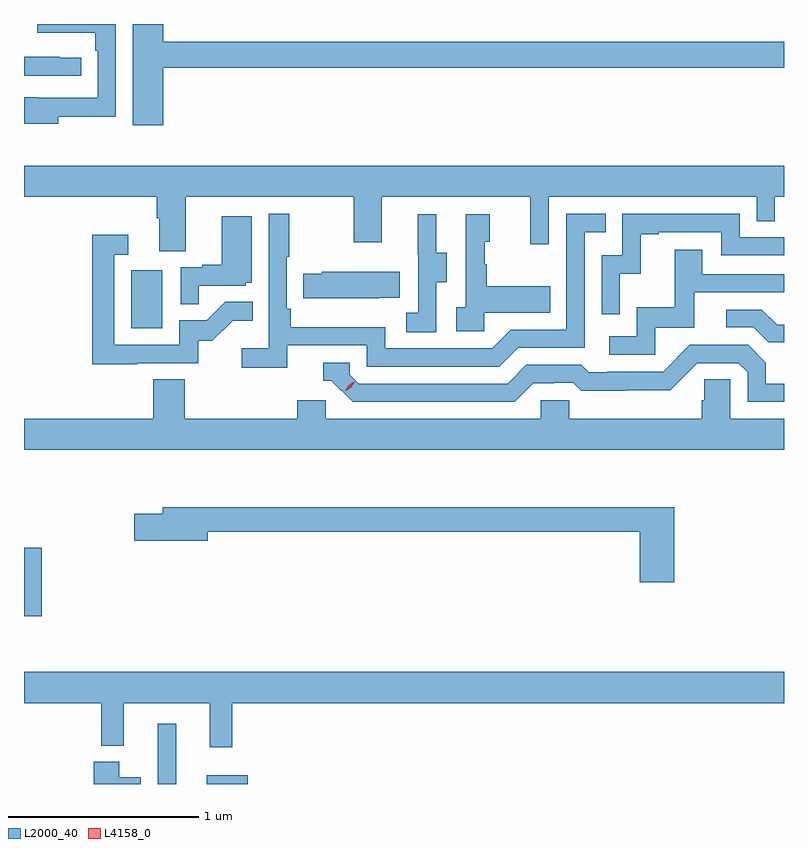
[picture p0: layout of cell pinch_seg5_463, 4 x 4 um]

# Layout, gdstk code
import gdstk
lib = gdstk.Library(unit=1e-6, precision=1e-09)
def R(c, l, rs):  # rectangles x0, y0, x1, y1
    for r in rs: c.add(gdstk.rectangle(r[:2], r[2:], *l))
def P(c, l, *ps):  # polygons
    for p in ps: c.add(gdstk.Polygon(p, *l))
L2000_40 = (2000, 40)
L4158_0 = (4158, 0)

pinch_seg5_463 = lib.new_cell('pinch_seg5_463')
R(pinch_seg5_463, L2000_40, [(891.177,853.67,891.274,853.987), (891.437,853.67,891.652,853.717), (890.474,854.554,890.567,854.914), (891.038,856.068,891.202,856.375)])
P(pinch_seg5_463, L2000_40, [(891.208,857.44),(894.474,857.44),(894.474,857.576),(891.208,857.576),(891.208,857.67),(891.047,857.67),(891.047,857.136),(891.208,857.136)],
  [(890.653,857.182),(890.958,857.182),(890.958,857.67),(890.544,857.67),(890.544,857.624),(890.849,857.624),(890.849,857.528),(890.862,857.528),(890.862,857.283),(890.549,857.283),(890.549,857.284),(890.474,857.284),(890.474,857.144),(890.653,857.144)],
  [(890.776,857.493),(890.663,857.493),(890.663,857.498),(890.474,857.498),(890.474,857.397),(890.776,857.397)],
  [(891.325,856.76),(892.21,856.76),(892.21,856.521),(892.357,856.521),(892.357,856.76),(893.138,856.76),(893.138,856.512),(893.235,856.512),(893.235,856.76),(894.33,856.76),(894.33,856.633),(894.426,856.633),(894.426,856.76),(894.474,856.76),(894.474,856.924),(890.474,856.924),(890.474,856.76),(891.173,856.76),(891.173,856.648),(891.185,856.648),(891.185,856.474),(891.325,856.474)],
  [(891.86,855.978),(892.278,855.978),(892.278,855.867),(892.975,855.867),(893.074,855.966),(893.424,855.966),(893.424,856.575),(893.537,856.575),(893.537,856.671),(893.328,856.671),(893.328,856.062),(893.037,856.062),(892.938,855.963),(892.374,855.963),(892.374,856.075),(891.878,856.075),(891.878,856.171),(891.858,856.171),(891.858,856.444),(891.871,856.444),(891.871,856.672),(891.762,856.672),(891.762,855.964),(891.621,855.964),(891.621,855.862),(891.86,855.862)],
  [(893.61,856.355),(893.72,856.355),(893.72,856.563),(893.815,856.563),(893.815,856.575),(894.144,856.575),(894.144,856.452),(894.474,856.452),(894.474,856.548),(894.24,856.548),(894.24,856.671),(893.622,856.671),(893.622,856.452),(893.514,856.452),(893.514,856.143),(893.61,856.143)],
  [(892.644,856.312),(892.699,856.312),(892.699,856.467),(892.645,856.467),(892.645,856.669),(892.547,856.669),(892.547,856.455),(892.548,856.455),(892.548,856.151),(892.485,856.151),(892.485,856.048),(892.644,856.048)],
  [(892.896,856.151),(893.243,856.151),(893.243,856.291),(892.909,856.291),(892.909,856.406),(892.899,856.406),(892.899,856.524),(892.924,856.524),(892.924,856.669),(892.8,856.669),(892.8,856.178),(892.749,856.178),(892.749,856.053),(892.896,856.053)],
  [(891.395,856.293),(891.642,856.293),(891.642,856.308),(891.673,856.308),(891.673,856.657),(891.515,856.657),(891.515,856.402),(891.411,856.402),(891.411,856.389),(891.3,856.389),(891.3,856.195),(891.395,856.195)],
  [(891.071,855.885),(891.39,855.885),(891.39,856.002),(891.466,856.002),(891.573,856.109),(891.677,856.109),(891.677,856.208),(891.533,856.208),(891.435,856.11),(891.291,856.11),(891.291,855.981),(890.949,855.981),(890.949,856.455),(891.022,856.455),(891.022,856.561),(890.833,856.561),(890.833,855.88),(891.071,855.88)],
  [(893.796,856.071),(894.001,856.071),(894.001,856.257),(894.474,856.257),(894.474,856.353),(894.043,856.353),(894.043,856.483),(893.899,856.483),(893.899,856.18),(893.7,856.18),(893.7,856.026),(893.553,856.026),(893.553,855.93),(893.796,855.93)],
  [(892.343,856.229),(892.451,856.229),(892.451,856.366),(892.041,856.366),(892.041,856.356),(891.943,856.356),(891.943,856.226),(892.343,856.226)],
  [(894.474,856.086),(894.439,856.086),(894.358,856.167),(894.171,856.167),(894.171,856.074),(894.312,856.074),(894.392,855.994),(894.474,855.994)],
  [(893.155,855.78),(893.262,855.78),(893.262,855.783),(893.365,855.783),(893.407,855.741),(893.64,855.741),(893.64,855.743),(893.876,855.743),(894.018,855.885),(894.234,855.885),(894.282,855.837),(894.282,855.681),(894.474,855.681),(894.474,855.777),(894.379,855.777),(894.379,855.887),(894.285,855.981),(893.979,855.981),(893.838,855.84),(893.545,855.84),(893.545,855.837),(893.446,855.837),(893.407,855.876),(893.118,855.876),(893.019,855.777),(892.236,855.777),(892.188,855.825),(892.188,855.888),(892.049,855.888),(892.049,855.792),(892.092,855.792),(892.203,855.681),(893.056,855.681)],
  [(894.474,855.592),(894.192,855.592),(894.192,855.8),(894.055,855.8),(894.055,855.69),(894.041,855.69),(894.041,855.592),(893.343,855.592),(893.343,855.69),(893.193,855.69),(893.193,855.592),(892.062,855.592),(892.062,855.69),(891.911,855.69),(891.911,855.592),(891.32,855.592),(891.32,855.8),(891.155,855.8),(891.155,855.592),(890.474,855.592),(890.474,855.428),(894.474,855.428)],
  [(893.897,855.127),(891.203,855.127),(891.203,855.093),(891.054,855.093),(891.054,854.951),(891.442,854.951),(891.442,854.998),(893.714,854.998),(893.714,854.733),(893.897,854.733)],
  [(891.569,854.096),(894.474,854.096),(894.474,854.26),(890.474,854.26),(890.474,854.096),(890.881,854.096),(890.881,853.871),(890.999,853.871),(890.999,854.096),(891.452,854.096),(891.452,853.863),(891.569,853.863)],
  [(891.088,853.705),(890.974,853.705),(890.974,853.786),(890.84,853.786),(890.84,853.67),(891.088,853.67)])
P(pinch_seg5_463, L4158_0, [(892.166,855.738),(892.166,855.738),(892.183,855.77),(892.214,855.79),(892.214,855.79),(892.214,855.789),(892.197,855.757),(892.166,855.738)])

lib.write_gds('pinch_seg5_463.gds')
